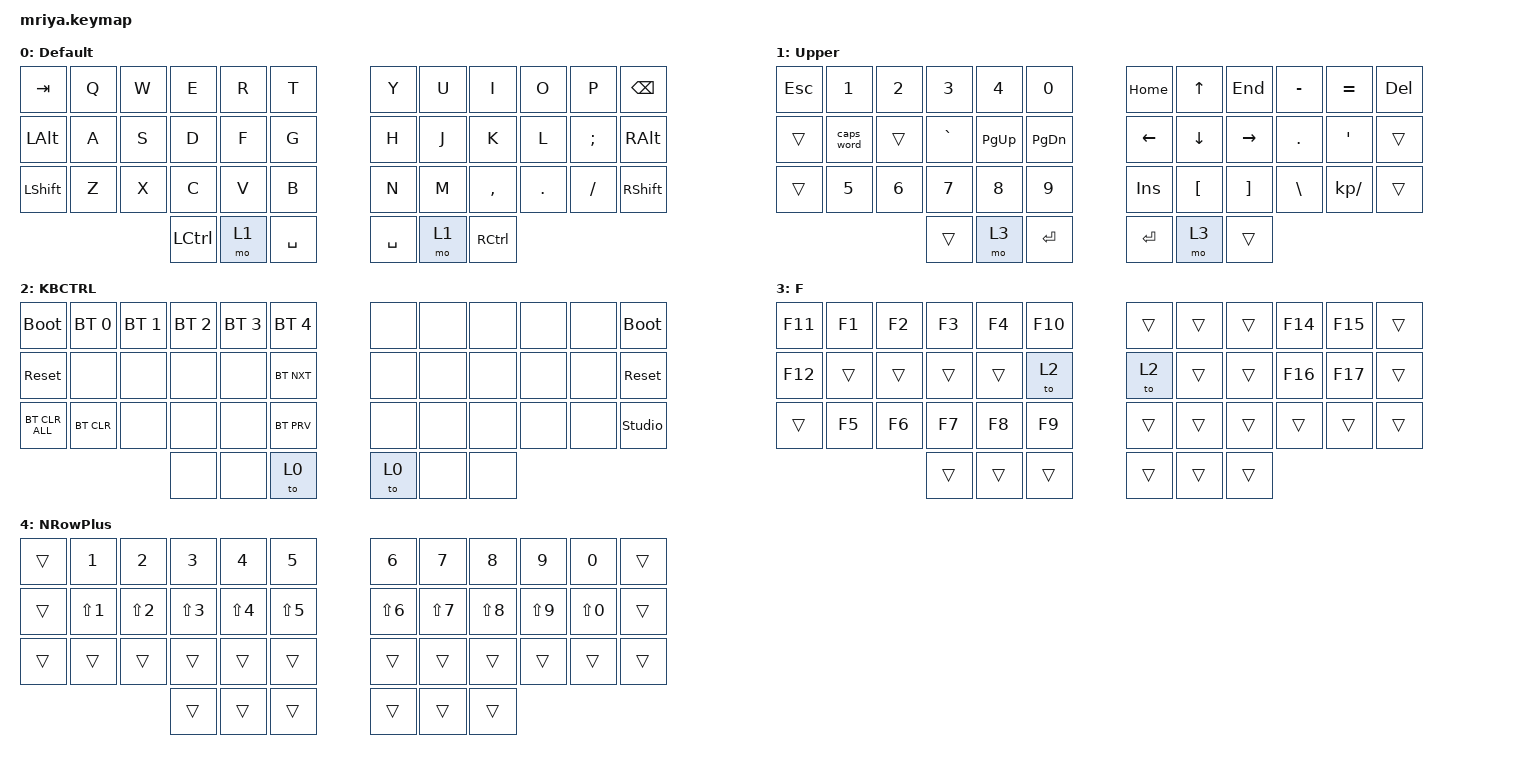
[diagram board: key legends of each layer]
/*
 * Copyright (c) 2020 The ZMK Contributors
 *
 * SPDX-License-Identifier: MIT
 */

#include <behaviors.dtsi>
#include <dt-bindings/zmk/bt.h>
#include <dt-bindings/zmk/keys.h>

#define BASE   0
#define LOWER  1
#define RAISE  2
#define ADJUST 3
#define NAVI   4

&lt {
};

&mt { flavor = "balanced"; };

/ {
};

/ {
    combos {
        compatible = "zmk,combos";

        ju-enter {
            bindings = <&kp ENTER>;
            key-positions = <7 19>;
        };

        fr-enter {
            bindings = <&kp ENTER>;
            key-positions = <16 4>;
        };
    };
};

/ {
    keymap {
        compatible = "zmk,keymap";

        // ▄▄▄▄▄▄▄▄▄▄▄▄▄▄▄▄▄▄▄▄▄▄▄▄▄▄▄▄▄▄▄▄▄▄▄▄▄▄▄▄▄▄▄▄▄▄▄▄▄▄▄▄▄▄▄▄▄▄▄▄▄▄▄▄▄▄▄▄▄▄▄▄▄▄▄▄▄▄▄▄▄▄▄▄▄▄▄▄▄▄▄▄▄▄▄▄▄▄▄▄▄▄▄▄▄▄▄▄▄▄▄▄▄▄

        default_layer {
            // ┌────────────────────────────────────────────┐

            label = "Default";

            // └────────────────────────────────────────────┘
            /*
┌───────┬───────┬───────┬───────┬───────┬───────┐                   ┌───────┬───────┬───────┬───────┬───────┬───────┐
│   ]   │   Q   │   W   │   E   │   R   │   T   │                   │   Y   │   U   │   I   │   O   │   P   │   [   │
├───────┼───────┼───────┼───────┼───────┼───────┤                   ├───────┼───────┼───────┼───────┼───────┼───────┤                      
│   `   │   A   │   S   │   D   │   F   │   G   │                   │   H   │   J   │   K   │   L   │   ;   │   '   │
├───────┼───────┼───────┼───────┼───────┼───────┤                   ├───────┼───────┼───────┼───────┼───────┼───────┤
│   \   │ Z/NAV │   X   │   C   │   V   │   B   │                   │   N   │   M   │   ,   │   .   │   /   │   -   │
└───────┴───────┴───────┴───────┼───────┼───────┼───────┐   ┌───────┼───────┼───────┼───────┴───────┴───────┴───────┘
                                │ RAISE │ SPACE │ LOWER │   │ LOWER │  BKSP │ RAISE │
                                └───────┴───────┴───────┘   └───────┴───────┴───────┘   
*/

            bindings = <
&kp TAB         &kp Q  &kp W  &kp E  &kp R             &kp T                        &kp Y  &kp U              &kp I      &kp O    &kp P     &kp BACKSPACE
&kp LEFT_ALT    &kp A  &kp S  &kp D  &kp F             &kp G                        &kp H  &kp J              &kp K      &kp L    &kp SEMI  &kp RIGHT_ALT
&kp LEFT_SHIFT  &kp Z  &kp X  &kp C  &kp V             &kp B                        &kp N  &kp M              &kp COMMA  &kp DOT  &kp FSLH  &kp RIGHT_SHIFT
                                     &kp LEFT_CONTROL  &mo 1  &kp SPACE  &kp SPACE  &mo 1  &kp RIGHT_CONTROL
            >;
        };

        // ▄▄▄▄▄▄▄▄▄▄▄▄▄▄▄▄▄▄▄▄▄▄▄▄▄▄▄▄▄▄▄▄▄▄▄▄▄▄▄▄▄▄▄▄▄▄▄▄▄▄▄▄▄▄▄▄▄▄▄▄▄▄▄▄▄▄▄▄▄▄▄▄▄▄▄▄▄▄▄▄▄▄▄▄▄▄▄▄▄▄▄▄▄▄▄▄▄▄▄▄▄▄▄▄▄▄▄▄▄▄▄▄▄▄

        upper {
            // ┌────────────────────────────────────────────┐

            label = "Upper";

            // └────────────────────────────────────────────┘
            /*
┌───────┬───────┬───────┬───────┬───────┬───────┐                   ┌───────┬───────┬───────┬───────┬───────┬───────┐
│ CAPS  │  F10  │  F9   │  F8   │  F7   │   ~   │                   │   !   │   @   │   #   │   $   │   %   │ RGUI  │
├───────┼───────┼───────┼───────┼───────┼───────┤                   ├───────┼───────┼───────┼───────┼───────┼───────┤                      
│ CTRL  │  F11  │  F3   │  F2   │  F1   │ MENU  │                   │   :   │   ?   │   *   │   (   │   )   │   &   │
├───────┼───────┼───────┼───────┼───────┼───────┤                   ├───────┼───────┼───────┼───────┼───────┼───────┤
│ LALT  │  F12  │  F6   │  F5   │  F4   │ LANG  │                   │   \   │   «   │   »   │   {   │   }   │   ^   │
└───────┴───────┴───────┴───────┼───────┼───────┼───────┐   ┌───────┼───────┼───────┼───────┴───────┴───────┴───────┘
                                │  ADJ  │ LSHFT │   ▼   │   │   ▼   │ RSHFT │  ADJ  │
                                └───────┴───────┴───────┘   └───────┴───────┴───────┘   
*/

            bindings = <
&kp ESC  &kp NUMBER_1  &kp NUMBER_2  &kp NUMBER_3  &kp NUMBER_4  &kp NUMBER_0                        &kp HOME    &kp UP            &kp END            &kp MINUS      &kp EQUAL         &kp DELETE
&trans   &caps_word    &trans        &kp GRAVE     &kp PG_UP     &kp PG_DN                           &kp LEFT    &kp DOWN          &kp RIGHT          &kp DOT        &kp SINGLE_QUOTE  &trans
&trans   &kp NUMBER_5  &kp NUMBER_6  &kp NUMBER_7  &kp NUMBER_8  &kp NUMBER_9                        &kp INSERT  &kp LEFT_BRACKET  &kp RIGHT_BRACKET  &kp BACKSLASH  &kp KP_SLASH      &trans
                                                   &trans        &mo 3         &kp ENTER  &kp ENTER  &mo 3       &trans
            >;
        };

        // ▄▄▄▄▄▄▄▄▄▄▄▄▄▄▄▄▄▄▄▄▄▄▄▄▄▄▄▄▄▄▄▄▄▄▄▄▄▄▄▄▄▄▄▄▄▄▄▄▄▄▄▄▄▄▄▄▄▄▄▄▄▄▄▄▄▄▄▄▄▄▄▄▄▄▄▄▄▄▄▄▄▄▄▄▄▄▄▄▄▄▄▄▄▄▄▄▄▄▄▄▄▄▄▄▄▄▄▄▄▄▄▄▄▄		

        kb_control_layer {
            // ┌────────────────────────────────────────────┐

            label = "KBCTRL";

            // └────────────────────────────────────────────┘
            /*
┌───────┬───────┬───────┬───────┬───────┬───────┐                   ┌───────┬───────┬───────┬───────┬───────┬───────┐
│ BKSP  │   *   │   9   │   8   │   7   │   +   │                   │ NEXT  │ VOLU  │ PSCRN │       │       │ RGUI  │
├───────┼───────┼───────┼───────┼───────┼───────┤                   ├───────┼───────┼───────┼───────┼───────┼───────┤                      
│ CTRL  │   /   │   3   │   2   │   1   │   0   │                   │ PLAY  │ VOLD  │       │       │       │ CTRL  │
├───────┼───────┼───────┼───────┼───────┼───────┤                   ├───────┼───────┼───────┼───────┼───────┼───────┤
│ ALT/= │   .   │   6   │   5   │   4   │   -   │                   │ PREV  │ MUTE  │       │       │       │ RALT  │
└───────┴───────┴───────┴───────┼───────┼───────┼───────┐   ┌───────┼───────┼───────┼───────┴───────┴───────┴───────┘
                                │   ▲   │ LSHFT │  ADJ  │   │  ADJ  │ RSHFT │   ▲   │
                                └───────┴───────┴───────┘   └───────┴───────┴───────┘  
*/

            bindings = <
&bootloader     &bt BT_SEL 0  &bt BT_SEL 1  &bt BT_SEL 2  &bt BT_SEL 3  &bt BT_SEL 4                &none  &none  &none  &none  &none  &bootloader
&sys_reset      &none         &none         &none         &none         &bt BT_NXT                  &none  &none  &none  &none  &none  &sys_reset
&bt BT_CLR_ALL  &bt BT_CLR    &none         &none         &none         &bt BT_PRV                  &none  &none  &none  &none  &none  &studio_unlock
                                                          &none         &none         &to 0  &to 0  &none  &none
            >;
        };

        flayer {
            bindings = <
&kp F11  &kp F1  &kp F2  &kp F3  &kp F4  &kp F10                  &trans  &trans  &trans  &kp F14  &kp F15  &trans
&kp F12  &trans  &trans  &trans  &trans  &to 2                    &to 2   &trans  &trans  &kp F16  &kp F17  &trans
&trans   &kp F5  &kp F6  &kp F7  &kp F8  &kp F9                   &trans  &trans  &trans  &trans   &trans   &trans
                                 &trans  &trans   &trans  &trans  &trans  &trans
            >;

            label = "F";
        };

        nrow_plus_layer {
            bindings = <
&trans  &kp NUMBER_1      &kp NUMBER_2      &kp NUMBER_3      &kp NUMBER_4      &kp NUMBER_5                      &kp NUMBER_6      &kp NUMBER_7      &kp NUMBER_8      &kp NUMBER_9      &kp NUMBER_0      &trans
&trans  &kp LS(NUMBER_1)  &kp LS(NUMBER_2)  &kp LS(NUMBER_3)  &kp LS(NUMBER_4)  &kp LS(NUMBER_5)                  &kp LS(NUMBER_6)  &kp LS(NUMBER_7)  &kp LS(NUMBER_8)  &kp LS(NUMBER_9)  &kp LS(NUMBER_0)  &trans
&trans  &trans            &trans            &trans            &trans            &trans                            &trans            &trans            &trans            &trans            &trans            &trans
                                                              &trans            &trans            &trans  &trans  &trans            &trans
            >;

            label = "NRowPlus";
        };

        // ▄▄▄▄▄▄▄▄▄▄▄▄▄▄▄▄▄▄▄▄▄▄▄▄▄▄▄▄▄▄▄▄▄▄▄▄▄▄▄▄▄▄▄▄▄▄▄▄▄▄▄▄▄▄▄▄▄▄▄▄▄▄▄▄▄▄▄▄▄▄▄▄▄▄▄▄▄▄▄▄▄▄▄▄▄▄▄▄▄▄▄▄▄▄▄▄▄▄▄▄▄▄▄▄▄▄▄▄▄▄▄▄▄▄
        // ▄▄▄▄▄▄▄▄▄▄▄▄▄▄▄▄▄▄▄▄▄▄▄▄▄▄▄▄▄▄▄▄▄▄▄▄▄▄▄▄▄▄▄▄▄▄▄▄▄▄▄▄▄▄▄▄▄▄▄▄▄▄▄▄▄▄▄▄▄▄▄▄▄▄▄▄▄▄▄▄▄▄▄▄▄▄▄▄▄▄▄▄▄▄▄▄▄▄▄▄▄▄▄▄▄▄▄▄▄▄▄▄▄▄		
    };
};
